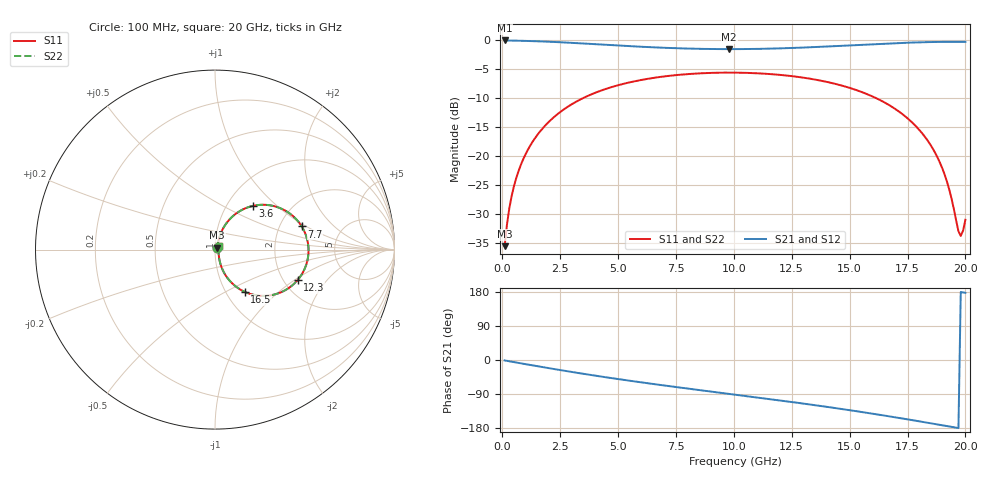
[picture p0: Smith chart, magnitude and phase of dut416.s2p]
! Touchstone file exported from HFSS 2026.1.0
!  File:  C:/ffzhzh/LocalFiles/Ansys_Project_Files/temp_train_TSV_RDL_416_1783095041_50312.aedt
!  Generated:  12:22:11 AM Jul  4, 2026
!  Design:  TSV_RDL
!  Project:  temp_train_TSV_RDL_416_1783095041_50312
! Variables:
!  h_bsmrdl = 4.65um
!  h_ox = 20um
!  h_rdl = 5um
!  h_sub = 81.84um
!  h_tmrdl = 3.38um
!  h_tsv = 81.84um
!  h_via = 3um
!  l_bsmrdl = 381.01um
!  l_sub = 3018.38um
!  l_tmrdl = 335.23um
!  m_sub = 200um
!  pitch = 50.51um
!  r_tsv = 7.07um
!  s_tmrdl = 10um
!  w_bsmrdl = 17.13um
!  w_sub = 500um
!  w_tmrdl = 27.68um
!  x_tsv_center1 = 349.07um
!  x_tsv_center2 = 747.21um
!  x_tsv_center3 = 1110.12um
!  x_tsv_center4 = 1508.26um
!  x_tsv_center5 = 1871.17um
!  x_tsv_center6 = 2269.31um
# GHz S MA R 50.000000
! Terminal data exported
! Port[1] = TM_RDL1_1_T1
! Port[2] = TM_RDL5_1_T1
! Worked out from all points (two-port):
!   200 points, 100 MHz to 20 GHz, reference 50 ohm
!   highest |S21| = -0.11 dB at 100 MHz (marker M1); lowest = -1.6 dB at 9.8 GHz (marker M2)
!   |S21| within 3 dB of the highest: start of sweep to end of sweep
!   lowest |S11| = -35.6 dB at 100 MHz (marker M3), VSWR 1.03, Z = 51.3 + j1.1 ohm
!   |S11| at or under -10 dB: start of sweep to 3.521 GHz; 16.11 GHz to end of sweep
!   |S22| runs from -35.6 to -5.7 dB; largest |S21 - S12| = 2.2e-14
!   S11 on the Smith chart (normalised r, x): 100 MHz: 1.03, +0.02; 3.6 GHz: 1.31, +0.71; 7.7 GHz: 2.64, +0.91; 12.3 GHz: 2.38, -1.06; 16.5 GHz: 1.22, -0.63; 20 GHz: 1.04, +0.04
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0.1  0.01655 40.5  0.9876 -1.1  0.9876 -1.1  0.01655 40.5
! Gamma 0 0 0 0
! Port Impedance 50 0 50 0
0.3  0.03481 63.8  0.986 -3.4  0.986 -3.4  0.03481 63.8
0.5  0.05418 69.0  0.9841 -5.5  0.9841 -5.5  0.05418 69.0
1.1  0.112 69.9  0.9777 -12.0  0.9777 -12.0  0.112 69.9
2.1  0.2039 62.6  0.9615 -22.5  0.9615 -22.5  0.2039 62.6
3.5  0.3148 50.1  0.9298 -36.4  0.9298 -36.4  0.3148 50.1
3.6  0.3218 49.2  0.9273 -37.4  0.9273 -37.4  0.3218 49.2
6.8  0.4777 22.0  0.8567 -65.7  0.8567 -65.7  0.4777 22.0
7.7  0.5002 14.9  0.844 -72.9  0.844 -72.9  0.5002 14.9
9.8  0.5212 -1.0  0.8313 -89.4  0.8313 -89.4  0.5212 -1.0
10.1  0.5208 -3.3  0.8314 -91.8  0.8314 -91.8  0.5208 -3.3
12.3  0.4912 -20.0  0.8476 -109.2  0.8476 -109.2  0.4912 -20.0
13.4  0.4579 -28.7  0.8643 -118.3  0.8643 -118.3  0.4579 -28.7
15  0.3849 -42.0  0.8956 -132.4  0.8956 -132.4  0.3849 -42.0
16.5  0.2886 -54.8  0.9268 -146.6  0.9268 -146.6  0.2886 -54.8
16.7  0.2738 -56.5  0.9306 -148.6  0.9306 -148.6  0.2738 -56.5
17.9  0.1763 -66.0  0.9502 -160.7  0.9502 -160.7  0.1763 -66.0
18.7  0.1052 -69.6  0.9584 -169.0  0.9584 -169.0  0.1052 -69.7
19.2  0.06006 -66.2  0.961 -174.3  0.961 -174.3  0.06006 -66.2
19.7  0.02229 -25.5  0.9615 -179.6  0.9615 -179.6  0.02225 -25.6
19.8  0.0203 -1.4  0.9613 179.3  0.9613 179.3  0.02026 -1.4
20  0.02796 39.2  0.9608 177.2  0.9608 177.2  0.02793 39.3
